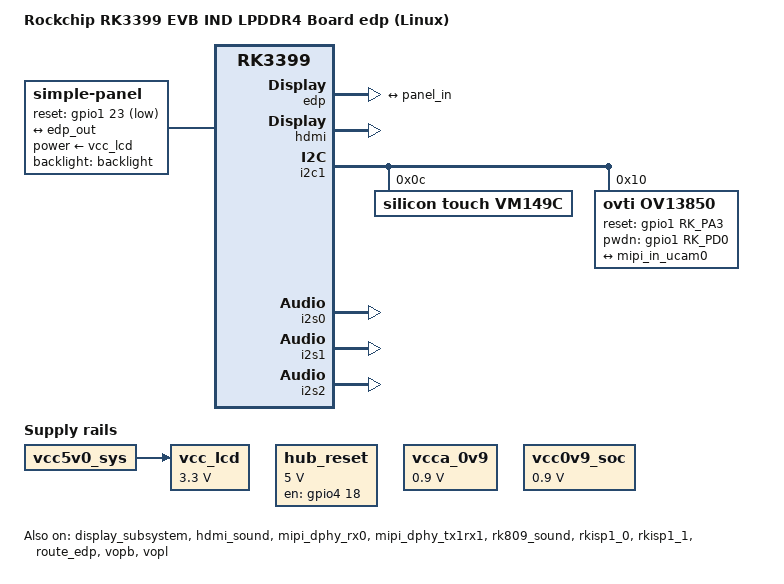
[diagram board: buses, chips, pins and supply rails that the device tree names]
// SPDX-License-Identifier: (GPL-2.0+ OR MIT)
/*
 * Copyright (c) 2019-2020 Fuzhou Rockchip Electronics Co., Ltd.
 */

/dts-v1/;

#include "rk3399-evb-ind.dtsi"
#include "rk3399-linux.dtsi"

/ {
	model = "Rockchip RK3399 EVB IND LPDDR4 Board edp (Linux)";
	compatible = "rockchip,linux", "rockchip,rk3399-evb-ind-lpddr4-linux", "rockchip,rk3399";

	iram: sram@ff8d0000 {
		compatible = "mmio-sram";
		reg = <0x0 0xff8d0000 0x0 0x20000>;
	};

	hub_reset: hub-reset {
		compatible = "regulator-fixed";
		enable-active-high;
		gpio = <&gpio4 18 GPIO_ACTIVE_HIGH>;
		regulator-name = "hub_reset";
		regulator-always-on;
		regulator-boot-on;
		regulator-min-microvolt = <5000000>;
		regulator-max-microvolt = <5000000>;
	};

	vcc_lcd: vcc-lcd {
		compatible = "regulator-fixed";
		regulator-name = "vcc_lcd";
		startup-delay-us = <20000>;
		enable-active-high;
		regulator-min-microvolt = <3300000>;
		regulator-max-microvolt = <3300000>;
		regulator-boot-on;
		vin-supply = <&vcc5v0_sys>;
	};

	panel: panel {
		compatible = "simple-panel";
		backlight = <&backlight>;
		power-supply = <&vcc_lcd>;
		reset-gpios = <&gpio1 23 GPIO_ACTIVE_LOW>;
		prepare-delay-ms = <20>;
		enable-delay-ms = <20>;

		display-timings {
			native-mode = <&timing0>;

			timing0: timing0 {
				clock-frequency = <200000000>;
				hactive = <1536>;
				vactive = <2048>;
				hfront-porch = <12>;
				hsync-len = <16>;
				hback-porch = <48>;
				vfront-porch = <8>;
				vsync-len = <4>;
				vback-porch = <8>;
				hsync-active = <0>;
				vsync-active = <0>;
				de-active = <0>;
				pixelclk-active = <0>;
			};
		};

		ports {
			panel_in: endpoint {
				remote-endpoint = <&edp_out>;
			};
		};
	};

	test-power {
		status = "okay";
	};
};

&backlight {
	enable-gpios = <&gpio1 13 GPIO_ACTIVE_HIGH>;
};

&display_subsystem {
	status = "okay";
};

&dmac_bus {
	iram = <&iram>;
	rockchip,force-iram;
};

&dp_sound {
	status = "disabled";
};

&edp {
	status = "okay";
	force-hpd;

	ports {
		port@1 {
			reg = <1>;

			edp_out: endpoint {
				remote-endpoint = <&panel_in>;
			};
		};
	};
};

&edp_in_vopb {
	status = "disabled";
};

&hdmi {
	pinctrl-names = "default";
	pinctrl-0 = <&hdmi_i2c_xfer>, <&hdmi_cec>;
	#address-cells = <1>;
	#size-cells = <0>;
	#sound-dai-cells = <0>;
	status = "okay";
};

&hdmi_in_vopl {
	status = "disabled";
};

&hdmi_sound {
	status = "okay";
};

&i2c1 {
	status = "okay";

	vm149c: vm149c@0c {
		compatible = "silicon touch,vm149c";
		status = "okay";
		reg = <0x0c>;
		rockchip,camera-module-index = <0>;
		rockchip,camera-module-facing = "back";
	};

	ov13850: ov13850@10 {
		compatible = "ovti,ov13850";
		status = "okay";
		reg = <0x10>;
		clocks = <&cru SCLK_CIF_OUT>;
		clock-names = "xvclk";

		/* conflict with csi-ctl-gpios */
		reset-gpios = <&gpio1 RK_PA3 GPIO_ACTIVE_HIGH>;
		pwdn-gpios = <&gpio1 RK_PD0 GPIO_ACTIVE_HIGH>;
		pinctrl-names = "rockchip,camera_default";
		pinctrl-0 = <&cif_clkout>;
		rockchip,camera-module-index = <0>;
		rockchip,camera-module-facing = "back";
		rockchip,camera-module-name = "CMK-CT0116";
		rockchip,camera-module-lens-name = "Largan-50013A1";

		lens-focus = <&vm149c>;

		port {
			ucam_out0: endpoint {
				remote-endpoint = <&mipi_in_ucam0>;
				data-lanes = <1 2>;
			};
		};
	};
};

&i2s0 {
	#sound-dai-cells = <0>;
	status = "okay";
};

&i2s1 {
	#sound-dai-cells = <0>;
	status = "okay";
};

&i2s2 {
	#sound-dai-cells = <0>;
	status = "okay";
};

&mipi_dphy_rx0 {
	status = "okay";

	ports {
		#address-cells = <1>;
		#size-cells = <0>;

		port@0 {
			reg = <0>;
			#address-cells = <1>;
			#size-cells = <0>;

			mipi_in_ucam0: endpoint@1 {
				reg = <1>;
				remote-endpoint = <&ucam_out0>;
				data-lanes = <1 2>;
			};
		};

		port@1 {
			reg = <1>;
			#address-cells = <1>;
			#size-cells = <0>;

			dphy_rx0_out: endpoint@0 {
				reg = <0>;
				remote-endpoint = <&isp0_mipi_in>;
			};
		};
	};
};

&mipi_dphy_tx1rx1 {
	status = "okay";

	ports {
		#address-cells = <1>;
		#size-cells = <0>;

		port@0 {
			reg = <0>;
			#address-cells = <1>;
			#size-cells = <0>;

			mipi_in_ucam1: endpoint@1 {
				reg = <1>;
				/* Unlinked camera */
				//remote-endpoint = <&ucam_out1>;
				data-lanes = <1 2>;
			};
		};

		port@1 {
			reg = <1>;
			#address-cells = <1>;
			#size-cells = <0>;

			dphy_tx1rx1_out: endpoint@0 {
				reg = <0>;
				remote-endpoint = <&isp1_mipi_in>;
			};
		};
	};
};

&rk809_sound {
	status = "okay";
};

&rkisp1_0 {
	status = "okay";

	port {
		#address-cells = <1>;
		#size-cells = <0>;

		isp0_mipi_in: endpoint@0 {
			reg = <0>;
			remote-endpoint = <&dphy_rx0_out>;
		};
	};
};

&rkisp1_1 {
	status = "okay";

	port {
		#address-cells = <1>;
		#size-cells = <0>;

		isp1_mipi_in: endpoint@0 {
			reg = <0>;
			remote-endpoint = <&dphy_tx1rx1_out>;
		};
	};
};

&route_edp {
	status = "okay";
};

/*
 * if enable dp_sound, should disable spdif_sound and spdif_out
 */
&spdif_out {
	status = "disabled";
};

&spdif_sound {
	status = "disabled";
};

&tc358749x_sound {
	status = "disabled";
};

&vcca_0v9 {
	regulator-always-on;
	regulator-boot-on;
	regulator-min-microvolt = <900000>;
	regulator-max-microvolt = <900000>;
	regulator-name = "vcca_0v9";
	regulator-state-mem {
		regulator-on-in-suspend;
		regulator-suspend-microvolt = <900000>;
	};
};

&vcc0v9_soc {
	regulator-always-on;
	regulator-boot-on;
	regulator-min-microvolt = <900000>;
	regulator-max-microvolt = <900000>;

	regulator-name = "vcc0v9_soc";
	regulator-state-mem {
		regulator-off-in-suspend;
	};
};

&vopb {
	status = "okay";
};

&vopb_mmu {
	status = "okay";
};

&vopl {
	status = "okay";
};

&vopl_mmu {
	status = "okay";
};

&pinctrl {
	lcd-panel {
		lcd_panel_reset: lcd-panel-reset {
			rockchip,pins = <1 RK_PC7 RK_FUNC_GPIO &pcfg_pull_up>;
		};
	};
};

/* DON'T PUT ANYTHING BELOW HERE.  PUT IT ABOVE PINCTRL */
/* DON'T PUT ANYTHING BELOW HERE.  PUT IT ABOVE PINCTRL */
/* DON'T PUT ANYTHING BELOW HERE.  PUT IT ABOVE PINCTRL */

